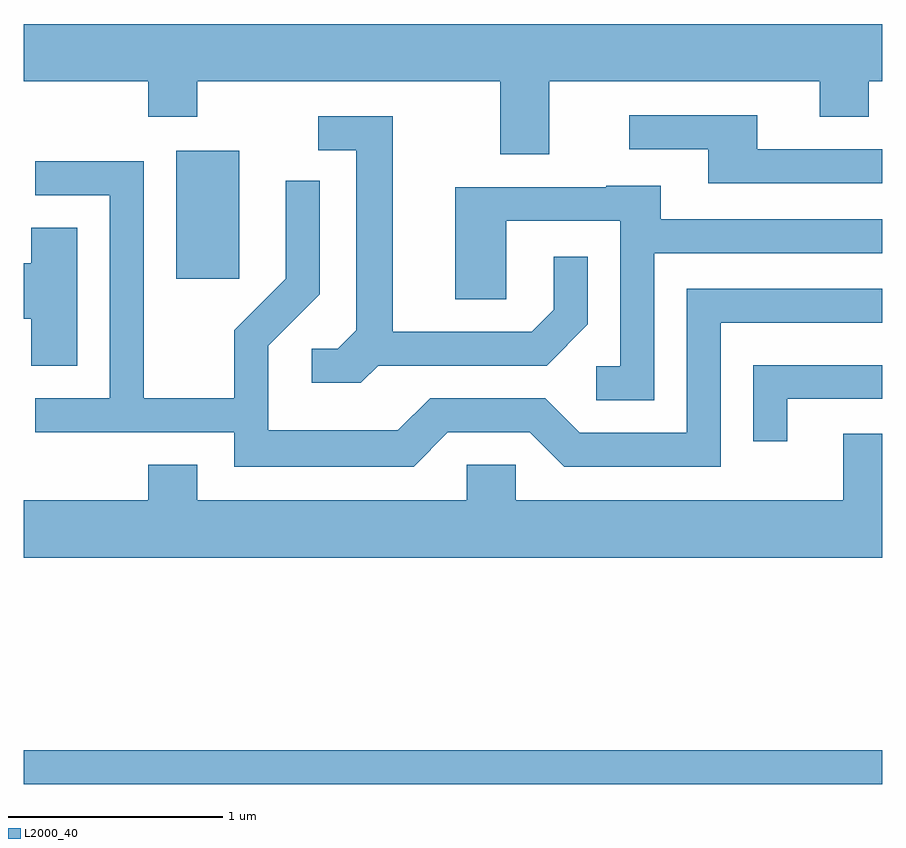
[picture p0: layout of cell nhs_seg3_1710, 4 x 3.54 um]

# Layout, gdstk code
import gdstk
lib = gdstk.Library(unit=1e-6, precision=1e-09)
def R(c, l, rs):  # rectangles x0, y0, x1, y1
    for r in rs: c.add(gdstk.rectangle(r[:2], r[2:], *l))
def P(c, l, *ps):  # polygons
    for p in ps: c.add(gdstk.Polygon(p, *l))
L2000_40 = (2000, 40)

nhs_seg3_1710 = lib.new_cell('nhs_seg3_1710')
R(nhs_seg3_1710, L2000_40, [(235.611,1136.061,239.611,1136.219), (236.321,1138.416,236.614,1139.014)])
P(nhs_seg3_1710, L2000_40, [(238.059,1139.336),(239.321,1139.336),(239.321,1139.171),(239.549,1139.171),(239.549,1139.336),(239.611,1139.336),(239.611,1139.604),(235.611,1139.604),(235.611,1139.336),(236.191,1139.336),(236.191,1139.171),(236.419,1139.171),(236.419,1139.336),(237.831,1139.336),(237.831,1138.996),(238.059,1138.996)],
  [(239.611,1139.019),(239.029,1139.019),(239.029,1139.179),(238.433,1139.179),(238.433,1139.021),(238.801,1139.021),(238.801,1138.861),(239.611,1138.861)],
  [(237.262,1138.011),(238.047,1138.011),(238.239,1138.204),(238.239,1138.518),(238.081,1138.518),(238.081,1138.272),(237.979,1138.169),(237.329,1138.169),(237.329,1139.174),(236.983,1139.174),(236.983,1139.016),(237.161,1139.016),(237.161,1138.177),(237.074,1138.089),(236.953,1138.089),(236.953,1137.931),(237.182,1137.931)],
  [(237.587,1137.701),(237.969,1137.701),(238.129,1137.541),(238.859,1137.541),(238.859,1138.211),(239.611,1138.211),(239.611,1138.369),(238.701,1138.369),(238.701,1137.699),(238.202,1137.699),(238.042,1137.859),(237.504,1137.859),(237.354,1137.709),(236.749,1137.709),(236.749,1138.104),(236.989,1138.344),(236.989,1138.873),(236.831,1138.873),(236.831,1138.417),(236.591,1138.177),(236.591,1137.859),(236.169,1137.859),(236.169,1138.964),(235.663,1138.964),(235.663,1138.806),(236.011,1138.806),(236.011,1137.859),(235.663,1137.859),(235.663,1137.701),(236.591,1137.701),(236.591,1137.541),(237.427,1137.541)],
  [(238.549,1138.536),(239.611,1138.536),(239.611,1138.694),(238.579,1138.694),(238.579,1138.849),(238.325,1138.849),(238.325,1138.844),(237.621,1138.844),(237.621,1138.321),(237.859,1138.321),(237.859,1138.686),(238.391,1138.686),(238.391,1138.009),(238.278,1138.009),(238.278,1137.851),(238.549,1137.851)],
  [(235.859,1138.654),(235.646,1138.654),(235.646,1138.489),(235.611,1138.489),(235.611,1138.231),(235.646,1138.231),(235.646,1138.011),(235.859,1138.011)],
  [(239.169,1137.856),(239.611,1137.856),(239.611,1138.014),(239.011,1138.014),(239.011,1137.658),(239.169,1137.658)],
  [(239.611,1137.694),(239.431,1137.694),(239.431,1137.384),(237.904,1137.384),(237.904,1137.549),(237.676,1137.549),(237.676,1137.384),(236.419,1137.384),(236.419,1137.549),(236.191,1137.549),(236.191,1137.384),(235.611,1137.384),(235.611,1137.116),(239.611,1137.116)])

lib.write_gds('nhs_seg3_1710.gds')
